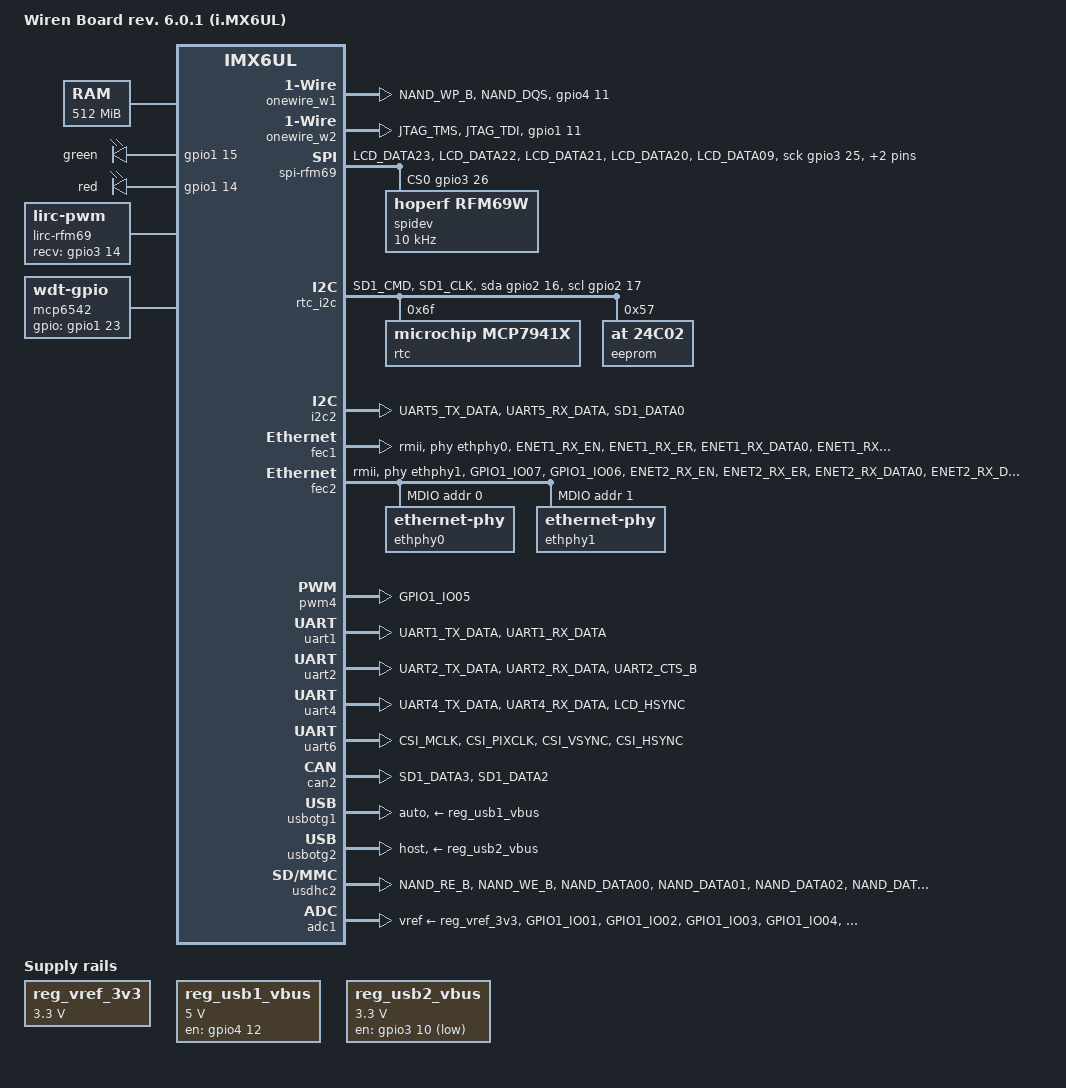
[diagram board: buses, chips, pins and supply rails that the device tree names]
/*
 * Copyright (C) 2016-2017 Contactless Devices, LLC
 * Copyright (C) 2015 Freescale Semiconductor, Inc.
 *
 * This program is free software; you can redistribute it and/or modify
 * it under the terms of the GNU General Public License version 2 as
 * published by the Free Software Foundation.
 */

/dts-v1/;

#include "imx6ul.dtsi"

/ {
	model = "Wiren Board rev. 6.0.1 (i.MX6UL)";
	compatible = "contactless,imx6ul-wirenboard60", "contactless,imx6ul-wirenboard-evk", "fsl,imx6ul-14x14-evk", "fsl,imx6ul";

	chosen {
		stdout-path = &uart1;
	};

	memory {
		reg = <0x80000000 0x20000000>;
	};

	regulators {
		compatible = "simple-bus";
		#address-cells = <1>;
		#size-cells = <0>;

		reg_vref_3v3: regulator@0 {
			reg = <0>;
			compatible = "regulator-fixed";
			regulator-name = "vref-3v3";
			regulator-min-microvolt = <3300000>;
			regulator-max-microvolt = <3300000>;
		};

		reg_usb1_vbus: regulator@1 {
			reg = <1>;
			compatible = "regulator-fixed";
			regulator-name = "usb1_vbus";
			regulator-min-microvolt = <5000000>;
			regulator-max-microvolt = <5000000>;

			pinctrl-names = "default";
			pinctrl-0 = <&pinctrl_usb1vbus_gpio>;

			gpio = <&gpio4 12 0>;
			enable-active-high;
		};

		reg_usb2_vbus: regulator@2 {
			reg = <2>;
			compatible = "regulator-fixed";
			regulator-name = "usb2_vbus";
			regulator-min-microvolt = <3300000>;
			regulator-max-microvolt = <3300000>;

			pinctrl-names = "default";
			pinctrl-0 = <&pinctrl_usb2vbus_gpio>;

			gpio = <&gpio3 10 0>;
			/* active low */
		};

	};

	leds {
		compatible = "gpio-leds";
		pinctrl-names = "default";
		pinctrl-0 = <&pinctrl_leds_pin_gpio>;

		green {
			label = "green";
			gpios = <&gpio1 15 0>;
			linux,default-trigger = "default-off";
			default-state = "on";
			open-drain;
		};

		red {
			label = "red";
			gpios = <&gpio1 14 0>;
			linux,default-trigger = "timer";
		};
	};

	/* Enable 1-wire network on terminal block W1 */
	onewire_w1 {
		compatible = "w1-gpio";
		pinctrl-names = "default";
		pinctrl-0 = <&pinctrl_w1_gpio>;

		gpios = <&gpio4 11 0>;
		pu-gpios = <&gpio4 16 0>;
	};

	/* Enable 1-wire network on terminal block W2 */
	onewire_w2 {
		compatible = "w1-gpio";
		pinctrl-names = "default";
		pinctrl-0 = <&pinctrl_w2_gpio>;

		gpios = <&gpio1 11 0>;
		pu-gpios = <&gpio1 13 0>;
	};

	lirc-rfm69 {
		compatible = "lirc-pwm";

		pinctrl-names = "default";
		pinctrl-0 = <&pinctrl_rfm69_dio2>;

		gpio-recv = <&gpio3 14 0>;
		gpio-recv-disable-filter;
	};

	spi-rfm69 {
		compatible = "spi-gpio";

		pinctrl-names = "default";
		pinctrl-0 = <&pinctrl_rfm69_spi_irq>;
		status = "okay";

		gpio-sck = <&gpio3 25 0>;
		gpio-mosi = <&gpio3 27 0>;
		gpio-miso = <&gpio3 28 0>;
		cs-gpios = <&gpio3 26 0>;
		num-chipselects = <1>;
		#address-cells = <1>;
		#size-cells = <0>;

		spidev@0 {
			compatible = "hoperf,rfm69w";
			spi-max-frequency = <10000>;
			reg = <0>;
		};
	};

	mcp6542: watchdog {
		/* external watchdog timer using mcp6542  */
		compatible = "linux,wdt-gpio";

		pinctrl-names = "default";
		pinctrl-0 = <&pinctrl_wdg_gpio>;

		gpios = <&gpio1 23 0>;
		hw_algo = "toggle";
		hw_margin_ms = <100>;
		always-running;
		timeout-sec = <30>;
		status = "okay";
	};

	rtc_i2c {
		compatible = "i2c-gpio";

		#address-cells = <1>;
		#size-cells = <0>;

		gpios = <
			&gpio2 16 0 /* sda */
			&gpio2 17 0 /* scl */
		>;

		i2c-gpio,delay-us = <50>;        /* ~20 kHz */

		pinctrl-names = "default";
		pinctrl-0 = <&pinctrl_rtc_gpio>;

		status = "okay";

		rtc@6f {
			compatible = "microchip,mcp7941x";
			reg = <0x6f>;
		};

		eeprom@57 {
			compatible = "at,24c02";
			reg = <0x57>;
		};
	};

};

&clks {
	assigned-clocks = <&clks IMX6UL_CLK_PLL4_AUDIO_DIV>;
	assigned-clock-rates = <786432000>;
};

&cpu0 {
	arm-supply = <&reg_arm>;
	soc-supply = <&reg_soc>;
};

&i2c2 {
	clock_frequency = <100000>;
	pinctrl-names = "default";
	pinctrl-0 = <&pinctrl_i2c2>;
	status = "okay";
};

&fec1 {
	pinctrl-names = "default";
	pinctrl-0 = <&pinctrl_enet1>;
	phy-mode = "rmii";
	phy-handle = <&ethphy0>;
	status = "okay";
};

&fec2 {
	pinctrl-names = "default";
	pinctrl-0 = <&pinctrl_enet2>;
	phy-mode = "rmii";
	phy-handle = <&ethphy1>;
	status = "okay";

	mdio {
		#address-cells = <1>;
		#size-cells = <0>;

		ethphy0: ethernet-phy@0 {
			reg = <0>;
			smsc,disable-energy-detect;
		};

		ethphy1: ethernet-phy@1 {
			reg = <1>;
			smsc,disable-energy-detect;
		};
	};
};

&pwm4 {
	pinctrl-names = "default";
	pinctrl-0 = <&pinctrl_pwm4_m17>;
	status = "okay";
};

&snvs_poweroff {
	status = "okay";
};

&uart1 {
	pinctrl-names = "default";
	pinctrl-0 = <&pinctrl_uart1>;
	status = "okay";
};

&uart2 {
	pinctrl-names = "default";
	pinctrl-0 = <&pinctrl_uart2>;
	uart-has-rtscts;
	linux,rs485-enabled-at-boot-time;
	status = "okay";
};

// uart on mod1
&uart3 {
	pinctrl-names = "default";
	pinctrl-0 = <&pinctrl_uart3>;
	uart-has-rtscts;
	status = "disabled";
};

&uart4 {
	pinctrl-names = "default";
	pinctrl-0 = <&pinctrl_uart4>;
	uart-has-rtscts;
	linux,rs485-enabled-at-boot-time;
	status = "okay";
};

// uart on mod3
&uart5 {
	pinctrl-names = "default";
	pinctrl-0 = <&pinctrl_uart5>;
	uart-has-rtscts;
	status = "disabled";
};

&uart6 {
	pinctrl-names = "default";
	pinctrl-0 = <&pinctrl_uart6>;
	uart-has-rtscts;
	status = "okay";
};

// uart on mod2
&uart7 {
	pinctrl-names = "default";
	pinctrl-0 = <&pinctrl_uart7>;
	uart-has-rtscts;
	status = "disabled";
};

&can2 {
	pinctrl-names = "default";
	pinctrl-0 = <&pinctrl_flexcan2>;
	status = "okay";
};

&ecspi1 {
	pinctrl-names = "default";
	pinctrl-0 = <&pinctrl_ecspi1>;
	status = "disabled";
};

&usbotg1 {
	vbus-supply = <&reg_usb1_vbus>;
	dr_mode = "auto";
	status = "okay";
};

&usbotg2 {
	vbus-supply = <&reg_usb2_vbus>;
	dr_mode = "host";
	disable-over-current;
	status = "okay";
};

&usdhc2 {
	pinctrl-names = "default";
	pinctrl-0 = <&pinctrl_usdhc2>;
	no-1-8-v;
	keep-power-in-suspend;
	wakeup-source;
	status = "okay";
};

&wdog1 {
	pinctrl-names = "default";
	pinctrl-0 = <&pinctrl_wdog>;
	fsl,ext-reset-output;
};

&adc1 {
	pinctrl-names = "default";
	pinctrl-0 = <&pinctrl_adc1>;
	status = "okay";
	vref-supply = <&reg_vref_3v3>;
};

&iomuxc {
	pinctrl-names = "default";
	pinctrl-0 = <&pinctrl_io_gpio>;

	pinctrl_enet1: enet1grp {
		fsl,pins = <
			MX6UL_PAD_ENET1_RX_EN__ENET1_RX_EN	0x1b0b0
			MX6UL_PAD_ENET1_RX_ER__ENET1_RX_ER	0x1b0b0
			MX6UL_PAD_ENET1_RX_DATA0__ENET1_RDATA00	0x1b0b0
			MX6UL_PAD_ENET1_RX_DATA1__ENET1_RDATA01	0x1b0b0
			MX6UL_PAD_ENET1_TX_EN__ENET1_TX_EN	0x1b0b0
			MX6UL_PAD_ENET1_TX_DATA0__ENET1_TDATA00	0x1b0b0
			MX6UL_PAD_ENET1_TX_DATA1__ENET1_TDATA01	0x1b0b0
			MX6UL_PAD_ENET1_TX_CLK__ENET1_REF_CLK1	0x4001b031
		>;
	};

	pinctrl_enet2: enet2grp {
		fsl,pins = <
			MX6UL_PAD_GPIO1_IO07__ENET2_MDC		0x1b0b0
			MX6UL_PAD_GPIO1_IO06__ENET2_MDIO	0x1b0b0
			MX6UL_PAD_ENET2_RX_EN__ENET2_RX_EN	0x1b0b0
			MX6UL_PAD_ENET2_RX_ER__ENET2_RX_ER	0x1b0b0
			MX6UL_PAD_ENET2_RX_DATA0__ENET2_RDATA00	0x1b0b0
			MX6UL_PAD_ENET2_RX_DATA1__ENET2_RDATA01	0x1b0b0
			MX6UL_PAD_ENET2_TX_EN__ENET2_TX_EN	0x1b0b0
			MX6UL_PAD_ENET2_TX_DATA0__ENET2_TDATA00	0x1b0b0
			MX6UL_PAD_ENET2_TX_DATA1__ENET2_TDATA01	0x1b0b0
			MX6UL_PAD_ENET2_TX_CLK__ENET2_REF_CLK2	0x4001b031
			MX6UL_PAD_SNVS_TAMPER0__GPIO5_IO00	0x17059
		>;
	};

	pinctrl_flexcan2: flexcan2grp{
		fsl,pins = <
			MX6UL_PAD_SD1_DATA3__FLEXCAN2_RX	0x1b020
			MX6UL_PAD_SD1_DATA2__FLEXCAN2_TX	0x1b020
		>;
	};

	pinctrl_i2c2: i2c2grp {
		fsl,pins = <
			MX6UL_PAD_UART5_TX_DATA__I2C2_SCL 0x4001b8b0
			MX6UL_PAD_UART5_RX_DATA__I2C2_SDA 0x4001b8b0
			MX6UL_PAD_SD1_DATA0__GPIO2_IO18 0x30b0 /* INT */
		>;
	};

	pinctrl_uart1: uart1grp {
		fsl,pins = <
			MX6UL_PAD_UART1_TX_DATA__UART1_DCE_TX 0x1b0b1
			MX6UL_PAD_UART1_RX_DATA__UART1_DCE_RX 0x1b0b1
		>;
	};

	pinctrl_uart2: uart2grp {
		fsl,pins = <
			MX6UL_PAD_UART2_TX_DATA__UART2_DCE_TX   0x1b0b1
			MX6UL_PAD_UART2_RX_DATA__UART2_DCE_RX   0x1b0b1
			MX6UL_PAD_UART2_CTS_B__UART2_DCE_CTS   0x1b0b1
		>;
	};

	pinctrl_uart3: uart3grp {
		fsl,pins = <
			MX6UL_PAD_UART3_TX_DATA__UART3_DCE_TX	0x1b0b1
			MX6UL_PAD_UART3_RX_DATA__UART3_DCE_RX	0x1b0b1
			MX6UL_PAD_UART3_CTS_B__UART3_DCE_CTS	0x1b0b1
		>;
	};

	pinctrl_uart4: uart4grp {
		fsl,pins = <
			MX6UL_PAD_UART4_TX_DATA__UART4_DCE_TX   0x1b0b1
			MX6UL_PAD_UART4_RX_DATA__UART4_DCE_RX   0x1b0b1
			MX6UL_PAD_LCD_HSYNC__UART4_DCE_CTS   0x1b0b1
		>;
	};

	pinctrl_uart5: uart5grp {
		fsl,pins = <
			MX6UL_PAD_CSI_DATA00__UART5_DCE_TX   0x1b0b1
			MX6UL_PAD_CSI_DATA01__UART5_DCE_RX   0x1b0b1
		>;
	};

	pinctrl_uart6: uart6grp {
		fsl,pins = <
			MX6UL_PAD_CSI_MCLK__UART6_DCE_TX   0x1b0b1
			MX6UL_PAD_CSI_PIXCLK__UART6_DCE_RX   0x1b0b1
			MX6UL_PAD_CSI_VSYNC__UART6_DCE_RTS   0x1b0b1
			MX6UL_PAD_CSI_HSYNC__UART6_DCE_CTS   0x1b0b1
		>;
	};

	pinctrl_uart7: uart7grp {
		fsl,pins = <
			MX6UL_PAD_LCD_DATA16__UART7_DCE_TX   0x1b0b1
			MX6UL_PAD_LCD_DATA17__UART7_DCE_RX   0x1b0b1
		>;
	};

	pinctrl_ecspi1: ecspi1grp {
		fsl,pins = <
			MX6UL_PAD_CSI_DATA06__ECSPI1_MOSI	0x100b1
			MX6UL_PAD_CSI_DATA07__ECSPI1_MISO	0x100b1
			MX6UL_PAD_CSI_DATA04__ECSPI1_SCLK	0x100b1
			MX6UL_PAD_CSI_DATA05__GPIO4_IO26	0x0b0b1
		>;
	};

	pinctrl_usdhc2: usdhc2grp {
		fsl,pins = <
			MX6UL_PAD_NAND_RE_B__USDHC2_CLK     0x17059
			MX6UL_PAD_NAND_WE_B__USDHC2_CMD     0x17059
			MX6UL_PAD_NAND_DATA00__USDHC2_DATA0 0x17059
			MX6UL_PAD_NAND_DATA01__USDHC2_DATA1 0x17059
			MX6UL_PAD_NAND_DATA02__USDHC2_DATA2 0x17059
			MX6UL_PAD_NAND_DATA03__USDHC2_DATA3 0x17059
		>;
	};

	pinctrl_wdog: wdoggrp {
		fsl,pins = <
			MX6UL_PAD_LCD_RESET__WDOG1_WDOG_ANY    0x30b0
		>;
	};

	pinctrl_leds_pin_gpio: leds_pin_gpio {
		fsl,pins = <
			MX6UL_PAD_JTAG_TCK__GPIO1_IO14	0x30b0
			MX6UL_PAD_JTAG_TRST_B__GPIO1_IO15	0x30b0
		>;
	};

	pinctrl_io_gpio: iogrp {
		fsl,pins = <
			MX6UL_PAD_LCD_DATA10__GPIO3_IO15	0x30b0 /* FET1 */
			MX6UL_PAD_LCD_DATA11__GPIO3_IO16	0x30b0 /* FET2 */
			MX6UL_PAD_LCD_DATA12__GPIO3_IO17	0x30b0 /* FET3 */
			MX6UL_PAD_LCD_DATA13__GPIO3_IO18	0x30b0 /* FET4 */
			MX6UL_PAD_LCD_DATA18__GPIO3_IO23	0x30b0 /* RESET_SIM900 */
			MX6UL_PAD_LCD_DATA15__GPIO3_IO20	0x30b0 /* POWER_SIM900 */
			MX6UL_PAD_LCD_DATA14__GPIO3_IO19	0x30b0 /* STATUS SIM900 */
			MX6UL_PAD_SD1_DATA1__GPIO2_IO19	 0x30b0 /* Battery STAT1 */
			MX6UL_PAD_LCD_DATA19__GPIO3_IO24	0x30b0 /* SIM select */
			MX6UL_PAD_JTAG_TDO__CCM_CLKO2	0xb0 /* 24MHz clock output */
		>;
	};

	pinctrl_wdg_gpio: wdggrp {
		fsl,pins = <
			MX6UL_PAD_UART2_RTS_B__GPIO1_IO23   0x30b0 /* watchdog toggle out */
		>;
	};

	pinctrl_adc1: adc1grp {
		fsl,pins = <
			MX6UL_PAD_GPIO1_IO01__GPIO1_IO01        0xb0
			MX6UL_PAD_GPIO1_IO02__GPIO1_IO02        0xb0
			MX6UL_PAD_GPIO1_IO03__GPIO1_IO03        0xb0
			MX6UL_PAD_GPIO1_IO04__GPIO1_IO04        0xb0
			MX6UL_PAD_GPIO1_IO08__GPIO1_IO08        0xb0
		>;
	};

	pinctrl_pwm4_m17: pwm4grp {
		fsl,pins = <
			MX6UL_PAD_GPIO1_IO05__PWM4_OUT	0x30b0
		>;
	};

	pinctrl_w1_gpio: w1grp {
		fsl,pins = <
			MX6UL_PAD_NAND_WP_B__GPIO4_IO11	0x30b0
			MX6UL_PAD_NAND_DQS__GPIO4_IO16	0x30b0
		>;
	};

	pinctrl_w2_gpio: w2grp {
		fsl,pins = <
			MX6UL_PAD_JTAG_TMS__GPIO1_IO11	0x30b0
			MX6UL_PAD_JTAG_TDI__GPIO1_IO13	0x30b0
		>;
	};

	pinctrl_rfm69_spi_irq: rfm69spigrp {
		fsl,pins = <
			MX6UL_PAD_LCD_DATA23__GPIO3_IO28	0x30b0
			MX6UL_PAD_LCD_DATA22__GPIO3_IO27	0x30b0
			MX6UL_PAD_LCD_DATA21__GPIO3_IO26	0x30b0
			MX6UL_PAD_LCD_DATA20__GPIO3_IO25	0x30b0
			MX6UL_PAD_LCD_DATA09__GPIO3_IO14	0x30b0
		>;
	};

	pinctrl_rtc_gpio: rtcgrp {
		fsl,pins = <
			MX6UL_PAD_SD1_CMD__GPIO2_IO16	0x30b0 /* RTC_SDA */
			MX6UL_PAD_SD1_CLK__GPIO2_IO17	0x30b0 /* RTC_SCL */
		>;
	};

	pinctrl_rfm69_dio2: rfm69diogrp {
		fsl,pins = <
			MX6UL_PAD_LCD_DATA08__GPIO3_IO13	0x30b0
		>;
	};

	pinctrl_usb1vbus_gpio: usb1vbusgrp {
		fsl,pins = <
			MX6UL_PAD_NAND_READY_B__GPIO4_IO12	0x30b0
		>;
	};

	pinctrl_usb2vbus_gpio: usb2vbusgrp {
		fsl,pins = <
			MX6UL_PAD_LCD_DATA05__GPIO3_IO10	0x30b0
		>;
	};

	pinctrl_mod1_gpio: mod1gpiogrp {
		fsl,pins = <
			MX6UL_PAD_UART3_TX_DATA__GPIO1_IO24	0x30b0
			MX6UL_PAD_UART3_RX_DATA__GPIO1_IO25	0x30b0
			MX6UL_PAD_UART3_CTS_B__GPIO1_IO26	0x30b0
		>;
	};

	pinctrl_mod2_gpio: mod2gpiogrp {
		fsl,pins = <
			MX6UL_PAD_LCD_DATA16__GPIO3_IO21	0x30b0
			MX6UL_PAD_LCD_DATA17__GPIO3_IO22	0x30b0
			MX6UL_PAD_GPIO1_IO09__GPIO1_IO09	0x30b0
		>;
	};

	pinctrl_mod3_uart_gpio: mod3uartgpiogrp {
		fsl,pins = <
			MX6UL_PAD_CSI_DATA00__GPIO4_IO21	0x30b0
			MX6UL_PAD_CSI_DATA01__GPIO4_IO22	0x30b0
			MX6UL_PAD_LCD_DATA06__GPIO3_IO11	0x30b0
		>;
	};

	pinctrl_mod3_spi_gpio: mod3spigpiogrp {
		fsl,pins = <
			MX6UL_PAD_CSI_DATA06__GPIO4_IO27	0x30b0
			MX6UL_PAD_CSI_DATA07__GPIO4_IO28	0x30b0
			MX6UL_PAD_CSI_DATA04__GPIO4_IO25	0x30b0
			MX6UL_PAD_CSI_DATA05__GPIO4_IO26	0x30b0
		>;
	};
};
